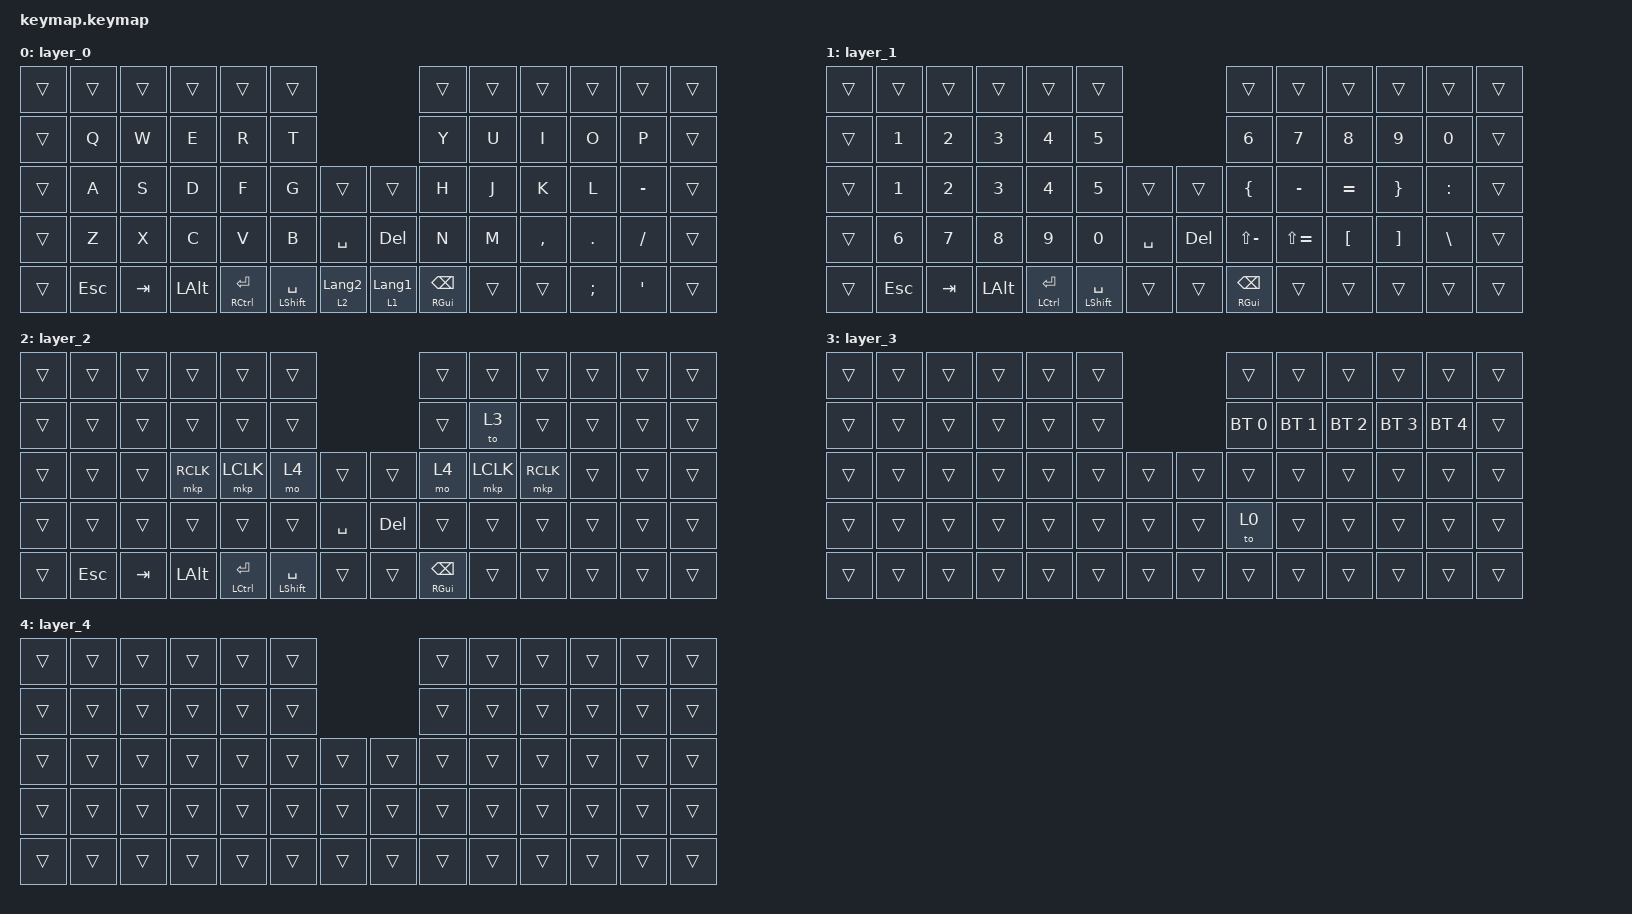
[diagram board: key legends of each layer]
#include <behaviors.dtsi>
#include <dt-bindings/zmk/bt.h>
#include <dt-bindings/zmk/keys.h>
#include <dt-bindings/zmk/pointing.h>
#include <input/processors.dtsi>

&trackball_listener {
    scroll-layer {
        layers = <4>;
        input-processors = <&zip_xy_to_scroll_mapper &zip_scroll_scaler 1 24>;
    };
};

/ {
    combos {
        compatible = "zmk,combos";

        bt_clear {
            bindings = <&bt BT_CLR>;
            key-positions = <28 29>;
        };
    };

    keymap {
        compatible = "zmk,keymap";

        layer_0 {
            bindings = <
&trans  &trans   &trans   &trans        &trans           &trans                                                    &trans              &trans  &trans     &trans         &trans            &trans
&trans  &kp Q    &kp W    &kp E         &kp R            &kp T                                                     &kp Y               &kp U   &kp I      &kp O          &kp P             &trans
&trans  &kp A    &kp S    &kp D         &kp F            &kp G                 &trans            &trans            &kp H               &kp J   &kp K      &kp L          &kp MINUS         &trans
&trans  &kp Z    &kp X    &kp C         &kp V            &kp B                 &kp SPACE         &kp DELETE        &kp N               &kp M   &kp COMMA  &kp DOT        &kp SLASH         &trans
&trans  &kp ESC  &kp TAB  &kp LEFT_ALT  &mt RCTRL ENTER  &mt LEFT_SHIFT SPACE  &lt 2 LANGUAGE_2  &lt 1 LANGUAGE_1  &mt RGUI BACKSPACE  &trans  &trans     &kp SEMICOLON  &kp SINGLE_QUOTE  &trans
            >;
        };

        layer_1 {
            bindings = <
&trans  &trans        &trans        &trans        &trans           &trans                                       &trans              &trans         &trans            &trans             &trans         &trans
&trans  &kp NUMBER_1  &kp NUMBER_2  &kp N3        &kp N4           &kp N5                                       &kp N6              &kp N7         &kp N8            &kp N9             &kp N0         &trans
&trans  &kp N1        &kp N2        &kp N3        &kp N4           &kp N5                &trans     &trans      &kp LEFT_BRACE      &kp MINUS      &kp EQUAL         &kp RIGHT_BRACE    &kp COLON      &trans
&trans  &kp N6        &kp N7        &kp N8        &kp N9           &kp N0                &kp SPACE  &kp DELETE  &kp LS(MINUS)       &kp LS(EQUAL)  &kp LEFT_BRACKET  &kp RIGHT_BRACKET  &kp BACKSLASH  &trans
&trans  &kp ESC       &kp TAB       &kp LEFT_ALT  &mt LCTRL ENTER  &mt LEFT_SHIFT SPACE  &trans     &trans      &mt RGUI BACKSPACE  &trans         &trans            &trans             &trans         &trans
            >;
        };

        layer_2 {
            bindings = <
&trans  &trans   &trans   &trans        &trans           &trans                                       &trans                   &trans     &trans     &trans  &trans  &trans
&trans  &trans   &trans   &trans        &trans           &trans                                       &trans                   &to 3      &trans     &trans  &trans  &trans
&trans  &trans   &trans   &mkp RCLK     &mkp LCLK        &mo 4                 &trans     &trans      &mo 4                    &mkp LCLK  &mkp RCLK  &trans  &trans  &trans
&trans  &trans   &trans   &trans        &trans           &trans                &kp SPACE  &kp DELETE  &trans                   &trans     &trans     &trans  &trans  &trans
&trans  &kp ESC  &kp TAB  &kp LEFT_ALT  &mt LCTRL ENTER  &mt LEFT_SHIFT SPACE  &trans     &trans      &mt RIGHT_GUI BACKSPACE  &trans     &trans     &trans  &trans  &trans
            >;
        };

        layer_3 {
            bindings = <
&trans  &trans  &trans  &trans  &trans  &trans                  &trans        &trans        &trans        &trans        &trans        &trans
&trans  &trans  &trans  &trans  &trans  &trans                  &bt BT_SEL 0  &bt BT_SEL 1  &bt BT_SEL 2  &bt BT_SEL 3  &bt BT_SEL 4  &trans
&trans  &trans  &trans  &trans  &trans  &trans  &trans  &trans  &trans        &trans        &trans        &trans        &trans        &trans
&trans  &trans  &trans  &trans  &trans  &trans  &trans  &trans  &to 0         &trans        &trans        &trans        &trans        &trans
&trans  &trans  &trans  &trans  &trans  &trans  &trans  &trans  &trans        &trans        &trans        &trans        &trans        &trans
            >;
        };

        layer_4 {
            bindings = <
&trans  &trans  &trans  &trans  &trans  &trans                  &trans  &trans  &trans  &trans  &trans  &trans
&trans  &trans  &trans  &trans  &trans  &trans                  &trans  &trans  &trans  &trans  &trans  &trans
&trans  &trans  &trans  &trans  &trans  &trans  &trans  &trans  &trans  &trans  &trans  &trans  &trans  &trans
&trans  &trans  &trans  &trans  &trans  &trans  &trans  &trans  &trans  &trans  &trans  &trans  &trans  &trans
&trans  &trans  &trans  &trans  &trans  &trans  &trans  &trans  &trans  &trans  &trans  &trans  &trans  &trans
            >;
        };
    };
};
